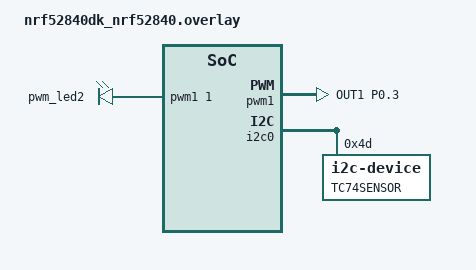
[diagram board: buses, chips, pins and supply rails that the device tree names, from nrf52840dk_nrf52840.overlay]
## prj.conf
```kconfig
#CONFIG_GPIO=y
CONFIG_I2C=y
CONFIG_PWM=y
CONFIG_UART_ASYNC_API=y
#CONFIG_SERIAL=y
#CONFIG_CONSOLE=y
CONFIG_PRINTK=y
CONFIG_TIMING_FUNCTIONS=y
#CONFIG_UART_CONSOLE=y
```

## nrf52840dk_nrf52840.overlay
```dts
// To get started, press Ctrl+Space to bring up the completion menu and view the available nodes.

// You can also use the buttons in the sidebar to perform actions on nodes.
// Actions currently available include:

// * Enabling / disabling the node
// * Adding the bus to a bus
// * Removing the node
// * Connecting ADC channels

// For more help, browse the DeviceTree documentation at https://docs.zephyrproject.org/latest/guides/dts/index.html
// You can also visit the nRF DeviceTree extension documentation at https://docs.nordicsemi.com/bundle/nrf-connect-vscode/page/guides/ncs_configure_app.html#devicetree-support-in-the-extension

/ {

	
	/*extleds {
		compatible = "gpio-leds";
		extled4: extled_4 {
			gpios = <&gpio0 3 GPIO_ACTIVE_LOW>;
			label = "External LED 4";
		};
	};	*/
	
	pwmleds {
		compatible = "pwm-leds";
		pwm_led2: pwm_led_2 {
			// Note that the "1" refers to the PWM channel (0...3)
			pwms = <&pwm1 1 PWM_MSEC(20) PWM_POLARITY_NORMAL>;
		};
	};


};

&pwm1 {
	status = "okay";
	pinctrl-0 = <&pwm1_default>;
	pinctrl-1 = <&pwm1_sleep>;
	pinctrl-names = "default", "sleep";	
};

&pinctrl {
	
	pwm1_default: pwm1_default {
		group1 {
			// Note that here PWM channels are labeled PWM_OUTx
			psels = <NRF_PSEL(PWM_OUT1, 0, 3)>;
			nordic,invert;
		};
	};

	pwm1_sleep: pwm1_sleep {
		group1 {
			// Note that here PWM channels are labeled PWM_OUTx
			psels = <NRF_PSEL(PWM_OUT1, 0, 3)>;			
		};
	};
};

&i2c0 {
    tc74sensor: tc74sensor@4D{
        compatible = "i2c-device";
        reg = < 0x4D >;		
        label = "TC74SENSOR";
    };
};
```

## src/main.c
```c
/*
 * Copyright (c) 2016 Open-RnD Sp. z o.o.
 * Copyright (c) 2020 Nordic Semiconductor ASA
 *
 * SPDX-License-Identifier: Apache-2.0
 */

#include <zephyr/kernel.h>
#include <zephyr/device.h>
#include <zephyr/drivers/gpio.h>
#include <zephyr/sys/util.h>
#include <zephyr/sys/printk.h>
#include <inttypes.h>
#include <zephyr/devicetree.h>
#include <zephyr/sys/mutex.h>
#include <stdlib.h>
#include <zephyr/drivers/pwm.h>		
#include <zephyr/drivers/i2c.h>
#include <zephyr/drivers/uart.h>
#include <stdio.h>
#include <string.h>
#include <zephyr/timing/timing.h>   



#define SLEEP_TIME_MS	1
#define STACK_SIZE 1024
#define PRIORITY_THREAD_TEMP 4
#define PRIORITY_THREAD_LED 5
#define PRIORITY_THREAD_PWM 3
#define PRIORITY_THREAD_UART 5

/* Therad periodicity (in ms)*/
#define THREAD_TEMP_PERIOD 500
#define THREAD_PWM_PERIOD 200
#define THREAD_LED_PERIOD 250

#define PWM_NODE    DT_NODELABEL(pwm_led2)	// heaterpwm is the PWM node for the heater
#define PWM_PERIOD_USEC 1000
#define PWM_MIN 0.0f
#define PWM_MAX 100.0f

#define TC74_CMD_RTR 0x00   /* Read temperature command */
#define TC74_CMD_RWCR 0x01  /* Read/write configuration register */

/*
 * Get button configuration from the devicetree sw0 alias. This is mandatory.
 */
#define SW0_NODE	DT_ALIAS(sw0)	// sw0 is the button 1
#define SW1_NODE	DT_ALIAS(sw1)	// sw1 is the button 2
#define SW3_NODE	DT_ALIAS(sw3)	// sw3 is the button 4

#define LED0_NODE	DT_ALIAS(led0)	// led0 is the LED 1
#define LED1_NODE	DT_ALIAS(led1)	// led1 is the LED 2
#define LED2_NODE	DT_ALIAS(led2)	// led2 is the LED 3
#define LED3_NODE	DT_ALIAS(led3)	// led3 is the LED 4

/* I2C device vars and defines */
#define I2C0_NID DT_NODELABEL(tc74sensor)

/* UART defs*/
#define UART_NODE DT_NODELABEL(uart0)
#define RX_BUF_SIZE 64
#define FRAME_BUF_SIZE 128
#define TX_BUF_SIZE 128
#define RX_TIMEOUT_US 100000


/* Error codes */
#define ERR_OK  0       // All fine
#define ERR_RDY -1      // Device not ready error
#define ERR_CONF -2     // Configuration error 
#define ERR_ISR -3     // Interrupt error




typedef struct {
    int cur_temp;      // Temperatura lida do sensor
    int setpoint;      // Temperatura desejada
    int max_temp;      // Temperatura máxima de segurança
    bool system_on;    // ON/OFF do sistema
	float kp, ki, kd;	// Parametros PID
	

} rtdb_t;

K_MUTEX_DEFINE(rtdb_mutex);

static rtdb_t RTDB = {
	.cur_temp = 0,
	.setpoint = 30,
	.max_temp = 50,
	.system_on = false, 
	.kp = 5.0f,
	.ki = 0.5f,
	.kd = 0.0f,

	
};

/* UART Vars*/
const struct device *uart_dev = DEVICE_DT_GET(UART_NODE);
static uint8_t rx_buf[RX_BUF_SIZE];
static char frame_buf[FRAME_BUF_SIZE];
static volatile int frame_pos = 0;
static volatile bool frame_ready = false;
static bool awaiting_enter = false;
char controller_params[64] = "Kp=10,Ki=5,Kd=1";



static const struct gpio_dt_spec button1 = GPIO_DT_SPEC_GET_OR(SW0_NODE, gpios, {0});
static struct gpio_callback button1_cb_data;

static const struct gpio_dt_spec button2 = GPIO_DT_SPEC_GET_OR(SW1_NODE, gpios, {0});
static struct gpio_callback button2_cb_data;

static const struct gpio_dt_spec button4 = GPIO_DT_SPEC_GET_OR(SW3_NODE, gpios, {0});
static struct gpio_callback button4_cb_data;


static struct gpio_dt_spec led1 = GPIO_DT_SPEC_GET_OR(LED0_NODE, gpios, {0});
static struct gpio_dt_spec led2 = GPIO_DT_SPEC_GET_OR(LED1_NODE, gpios, {0});
static struct gpio_dt_spec led3 = GPIO_DT_SPEC_GET_OR(LED2_NODE, gpios, {0});
static struct gpio_dt_spec led4 = GPIO_DT_SPEC_GET_OR(LED3_NODE, gpios, {0});

static const struct pwm_dt_spec heater_pwm = PWM_DT_SPEC_GET(PWM_NODE);	

static const struct i2c_dt_spec dev_i2c = I2C_DT_SPEC_GET(I2C0_NID);
							 
/* hardware configurations */
int HWInit(void);

void update_leds(void);

void button_pressed(const struct device *dev, struct gpio_callback *cb, uint32_t pins);

float pid_compute(float kp,float ki,float kd,float *prev,float *intg, float setpoint, float temp, float dt);

uint8_t calc_checksum(const char *cmd, const char *data);

void send_uart_msg(const char *msg);

void process_frame(const char *frame);

static void uart_cb(const struct device *dev, struct uart_event *evt, void *user_data);

void print_float_as_string(char *buffer, size_t size, float val);



/* Thread IDs */
k_tid_t temp_sensor_tid;
k_tid_t led_control_tid;
k_tid_t pwm_tid;

K_THREAD_STACK_DEFINE(temp_sensor_stack, STACK_SIZE);
K_THREAD_STACK_DEFINE(led_control_stack, STACK_SIZE);
K_THREAD_STACK_DEFINE(pwm_stack, STACK_SIZE);
static struct k_thread temp_sensor_data;
static struct k_thread led_control_data;
static struct k_thread pwm_data;

/* UART thread */
k_tid_t uart_tid;
K_THREAD_STACK_DEFINE(uart_stack, STACK_SIZE);
static struct k_thread uart_data;


void temp_sensor_thread(void *p1, void *p2, void *p3);

void led_control_thread(void *p1, void *p2, void *p3);

void pwm_control_thread(void *p1, void *p2, void *p3);

void uart_task(void *arg1, void *arg2, void *arg3);


int main(void)
{
	int ret = 0;

    if ((ret = HWInit())) {
        printk("HW initialization error!\n");
        return ret;
    }

    printk("RTDB initialized\n");
    printk("System running with threads\n");

    temp_sensor_tid = k_thread_create(&temp_sensor_data, temp_sensor_stack, STACK_SIZE,
                    temp_sensor_thread, NULL, NULL, NULL,
                    PRIORITY_THREAD_TEMP, 0, K_NO_WAIT);

    led_control_tid = k_thread_create(&led_control_data, led_control_stack, STACK_SIZE,
                    led_control_thread, NULL, NULL, NULL,
                    PRIORITY_THREAD_LED, 0, K_NO_WAIT);

	pwm_tid = k_thread_create(&pwm_data, pwm_stack, STACK_SIZE,
		pwm_control_thread, NULL, NULL, NULL,
		PRIORITY_THREAD_PWM, 0, K_NO_WAIT);

	uart_tid = k_thread_create(&uart_data, uart_stack, STACK_SIZE,
					uart_task, NULL, NULL, NULL,
					PRIORITY_THREAD_UART, 0, K_NO_WAIT);


    return 0;
}



uint8_t calc_checksum(const char *cmd, const char *data) {
    uint8_t sum = cmd[0];
    for (size_t i = 0; i < strlen(data); i++) {
        sum += (uint8_t)data[i];
    }
    return sum % 256;
}


void send_uart_msg(const char *msg) {
    while (*msg) {
        uart_tx(uart_dev, msg, 1, SYS_FOREVER_MS);
        msg++;
        k_msleep(1);
    }
}

void print_float_as_string(char *buffer, size_t size, float val) {
    int int_part = (int)val;
    int decimal_part = (int)((val - int_part) * 10);  // 1 casa decimal
    if (decimal_part < 0) decimal_part = -decimal_part;

    snprintf(buffer, size, "%d.%d", int_part, decimal_part);
}


void process_frame(const char *frame) {
    size_t len = strlen(frame);
    if (len < 5 || frame[0] != '#' || frame[len - 1] != '!') {
        send_uart_msg("\r\n#Ef171!\r\n");
        return;
    }

    char cmd = frame[1];
    char data[64] = {0};
    char cs_str[4] = {0};

    if (cmd == 'C') {
        strncpy(cs_str, &frame[2], 3);
    } else {
        int full_len = strlen(frame);
        int data_len = full_len - 6; // remove # + CMD + CS(3) + !
        if (data_len > 0 && data_len < (int)sizeof(data)) {
            strncpy(data, &frame[2], data_len);
            data[data_len] = '\0';
        }
        strncpy(cs_str, &frame[full_len - 4], 3);
    }

    int received_cs = atoi(cs_str);
    char cmd_str[2] = {cmd, '\0'};
    uint8_t computed_cs = calc_checksum(cmd_str, data);

    char response[TX_BUF_SIZE];

    if (computed_cs != received_cs) {
        snprintf(response, sizeof(response), "\r\n#Es%03d!\r\n", calc_checksum("E", "s"));
        send_uart_msg(response);
        return;
    }

    switch (cmd) {
        case 'M': {
            int max_tmp = atoi(data);
			k_mutex_lock(&rtdb_mutex, K_FOREVER);
            RTDB.max_temp = max_tmp;
            k_mutex_unlock(&rtdb_mutex);
            snprintf(response, sizeof(response), "\r\n#Eo%03d!\r\n", calc_checksum("E", "o"));
            send_uart_msg(response);
            snprintf(response, sizeof(response), "Max temp = %d\r\n", max_tmp);
            send_uart_msg(response);
            break;
        }
        case 'C': {
            char t_str[8] = {0};
			int current_temp;
			k_mutex_lock(&rtdb_mutex, K_FOREVER);
            current_temp = RTDB.cur_temp;
            k_mutex_unlock(&rtdb_mutex);
            snprintf(t_str, sizeof(t_str), "%03d", current_temp);
            snprintf(response, sizeof(response), "\r\n#c%s%03d!\r\n", t_str, calc_checksum("c", t_str));
            send_uart_msg(response);
            break;
        }
        case 'S': {	


            // Espera-se exatamente 15 chars de dados: pXX.XiXX.XdXX.X
			if (strlen(data) != 12) {
				snprintf(response, sizeof(response), "\r\n#Ei%03d!\r\n", calc_checksum("E", "i"));
				send_uart_msg(response);
				break;
			}

			// Validar as posições fixas dos identificadores p, i, d
			if (data[0] != 'p' || data[4] != 'i' || data[8] != 'd') {
				snprintf(response, sizeof(response), "\r\n#Ei%03d!\r\n", calc_checksum("E", "i"));
				send_uart_msg(response);
				break;
			}

			

			// Extrair os valores float (4 chars cada)
			char p_str[5] = { data[1], data[2], data[3], '\0' };   
			char i_str[5] = { data[5], data[6], data[7], '\0' };   
			char d_str[5] = { data[9], data[10], data[11], '\0' };

			int p_int = atoi(p_str);
			int i_int = atoi(i_str);
			int d_int = atoi(d_str); 

			if (p_int < 0 || i_int < 0 || d_int < 0 || p_int > 999 || i_int > 999 || d_int > 999) {
				snprintf(response, sizeof(response), "\r\n#Ei%03d!\r\n", calc_checksum("E", "i"));
				send_uart_msg(response);
				break;
			}

			// Converte para float dividindo por 10 (último dígito decimal)
			float p = p_int / 10.0f;
			float i = i_int / 10.0f;
			float d = d_int / 10.0f;

			k_mutex_lock(&rtdb_mutex, K_FOREVER);
			RTDB.kp = p;
			RTDB.ki = i;
			RTDB.kd = d;
			k_mutex_unlock(&rtdb_mutex);


			snprintf(response, sizeof(response), "\r\n#Eo%03d!\r\n", calc_checksum("E", "o"));
			send_uart_msg(response);

			break;
            
        }
		case 'G': {  // Get PID parameters
			// Retorna os parâmetros no formato #gpPPP iIII dDDD xxx!
			float p, i, d;
			k_mutex_lock(&rtdb_mutex, K_FOREVER);
			p = RTDB.kp;
			i = RTDB.ki;
			d = RTDB.kd;
			k_mutex_unlock(&rtdb_mutex);
		
			int p_int = (int)(p * 10);
			int i_int = (int)(i * 10);
			int d_int = (int)(d * 10);
		
			char pid_str[20];
			snprintf(pid_str, sizeof(pid_str), "p%03di%03dd%03d", p_int, i_int, d_int);
		
			snprintf(response, sizeof(response), "\r\n#g%s%03d!\r\n", pid_str, calc_checksum("g", pid_str));
			send_uart_msg(response);
			break;
		}
		
        default: {
            snprintf(response, sizeof(response), "\r\n#Ei%03d!\r\n", calc_checksum("E", "i"));
            send_uart_msg(response);
            break;
        }
    }
}

static void uart_cb(const struct device *dev, struct uart_event *evt, void *user_data) {
    switch (evt->type) {
        case UART_RX_RDY:
            for (size_t i = 0; i < evt->data.rx.len; i++) {
                char c = evt->data.rx.buf[evt->data.rx.offset + i];

                if (c == '\r' || c == '\n') {
                    const char *nl = "\r\n";
                    uart_tx(uart_dev, nl, strlen(nl), SYS_FOREVER_MS);
                } else {
                    uart_tx(uart_dev, &c, 1, SYS_FOREVER_MS);
                }

                if (frame_pos == 0 && c != '#') {
                    frame_buf[frame_pos++] = c;
                    awaiting_enter = true;
                    continue;
                }

                if (awaiting_enter) {
                    if (c == '\r' || c == '\n') {
                        frame_buf[frame_pos] = '\0';
                        frame_ready = true;
                        frame_pos = 0;
                        awaiting_enter = false;
                    }
                    continue;
                }

                if (c == '!') {
                    if (frame_pos < FRAME_BUF_SIZE - 1) {
                        frame_buf[frame_pos++] = c;
                        awaiting_enter = true;
                    } else {
                        send_uart_msg("\r\n#Ef171!\r\n");
                        frame_pos = 0;
                        awaiting_enter = false;
                    }
                } else if (frame_pos < FRAME_BUF_SIZE - 1) {
                    frame_buf[frame_pos++] = c;
                } else {
                    send_uart_msg("\r\n#Ef171!\r\n");
                    frame_pos = 0;
                    awaiting_enter = false;
                }
            }
            break;

        case UART_RX_DISABLED:
            uart_rx_enable(uart_dev, rx_buf, sizeof(rx_buf), RX_TIMEOUT_US);
            break;

        default:
            break;
    }
}

void uart_task(void *arg1, void *arg2, void *arg3) {
    uart_callback_set(uart_dev, uart_cb, NULL);
    uart_rx_enable(uart_dev, rx_buf, sizeof(rx_buf), RX_TIMEOUT_US);

    const char *welcome = "Pronto para comandos (#CMD...CS!)\r\n";
    send_uart_msg(welcome);

    while (1) {
        if (frame_ready) {
            process_frame(frame_buf);
            frame_ready = false;
        }
        k_msleep(50);
    }
}


void update_leds(void) {
	k_mutex_lock(&rtdb_mutex, K_FOREVER);
    bool on = RTDB.system_on;
    int temp = RTDB.cur_temp;
    int sp = RTDB.setpoint;
    k_mutex_unlock(&rtdb_mutex);

    gpio_pin_set_dt(&led1, on);
    gpio_pin_set_dt(&led2, on && abs(temp - sp) <= 2);
    gpio_pin_set_dt(&led3, on && temp < sp - 2);
    gpio_pin_set_dt(&led4, on && temp > sp + 2);
}

void button_pressed(const struct device *dev, struct gpio_callback *cb, uint32_t pins) {
    k_mutex_lock(&rtdb_mutex, K_FOREVER);
    if (pins & BIT(button1.pin)) {
        RTDB.system_on = !RTDB.system_on;
        printk("System is now %s\n", RTDB.system_on ? "ON" : "OFF");

    } else if ((pins & BIT(button2.pin)) && RTDB.system_on) {
		if (RTDB.setpoint < RTDB.max_temp) {
			RTDB.setpoint++;
			printk("Setpoint increased: %d°C\n", RTDB.setpoint);
		} else {
			printk("Setpoint already at maximum: %d°C\n", RTDB.max_temp);
		}

    } else if ((pins & BIT(button4.pin)) && RTDB.system_on) {
        RTDB.setpoint--;
        printk("Setpoint decreased: %d°C\n", RTDB.setpoint);

    }
    k_mutex_unlock(&rtdb_mutex);
    update_leds();
}

void temp_sensor_thread(void *p1, void *p2, void *p3) {

	/* Local vars */
    int64_t fin_time=0, release_time=0;     /* Timing variables to control task periodicity */  
	
	release_time = k_uptime_get() + THREAD_TEMP_PERIOD;
        

    uint8_t temp = 0;
	int ret=0;
    while (1) {
		k_mutex_lock(&rtdb_mutex, K_FOREVER);
        bool sys_on = RTDB.system_on;
        k_mutex_unlock(&rtdb_mutex);
		if(sys_on){
			/* Read temperature register */       
			ret = i2c_read_dt(&dev_i2c, &temp, sizeof(temp));
			if(ret != 0){
				printk("Failed to read from I2C device at address %x, register  at Reg. %x \n\r", dev_i2c.addr,TC74_CMD_RTR);      
			}
			else{
				k_mutex_lock(&rtdb_mutex, K_FOREVER);
				RTDB.cur_temp = temp;
				k_mutex_unlock(&rtdb_mutex);
				//printk("[SENSOR] Current temperature: %d°C\n", temp);
				//k_sleep(K_MSEC(500));
			}

			
		}
		
		/* Control the task periodicity */
		fin_time = k_uptime_get();
		if (fin_time < release_time) {
			k_msleep(release_time - fin_time);
			release_time += THREAD_TEMP_PERIOD;
		}
    }
	

}

void led_control_thread(void *p1, void *p2, void *p3) {

	/* Local vars */
    int64_t fin_time=0, release_time=0;     /* Timing variables to control task periodicity */  
	
	release_time = k_uptime_get() + THREAD_LED_PERIOD;

    while (1) {
		k_mutex_lock(&rtdb_mutex, K_FOREVER);
        bool sys_on = RTDB.system_on;
        k_mutex_unlock(&rtdb_mutex);

        if (sys_on) {
            update_leds();
        } else {
            gpio_pin_set_dt(&led1, 0);
            gpio_pin_set_dt(&led2, 0);
            gpio_pin_set_dt(&led3, 0);
            gpio_pin_set_dt(&led4, 0);
        }

        /* Control the task periodicity */
		fin_time = k_uptime_get();
		if (fin_time < release_time) {
			k_msleep(release_time - fin_time);
			release_time += THREAD_LED_PERIOD;
		}
    }
    
}



float pid_compute(float kp,float ki,float kd,float *prev,float *intg, float setpoint, float temp, float dt) {
	
    float error = setpoint - temp;
    //*intg += error * dt;
    float derivative = (error - *prev) / dt;
    
	// Cálculo prévio da saída sem atualizar a integral ainda
    float output_pre = kp * error + ki * (*intg) + kd * derivative;

	// Anti-windup
	if ((output_pre < PWM_MAX && output_pre > PWM_MIN) ||
    	(output_pre >= PWM_MAX && error < 0) ||  
    	(output_pre <= PWM_MIN && error > 0)) {
    	*intg += error * dt;
	}


	float output = kp * error + ki * (*intg) + kd * derivative;

	// Clamp output to PWM range
	if (output < PWM_MIN) {
		output = PWM_MIN;
	} else if (output > PWM_MAX) {
		output = PWM_MAX;
	}

	*prev = error;
    return output;
}


void pwm_control_thread(void *p1, void *p2, void *p3) {

	/* Local vars */
    int64_t fin_time=0, release_time=0;     /* Timing variables to control task periodicity */    
	release_time = k_uptime_get() + THREAD_PWM_PERIOD;

	float prev_error = 0.0f;
	float integral = 0.0f;		

    while (1) {
        k_mutex_lock(&rtdb_mutex, K_FOREVER);
        bool sys_on = RTDB.system_on;
		float sp = (float)RTDB.setpoint;
        float temp = (float)RTDB.cur_temp;
        float kp = RTDB.kp;
        float ki = RTDB.ki;
        float kd = RTDB.kd;
        k_mutex_unlock(&rtdb_mutex);

        if (sys_on) {
            float out = pid_compute(kp, ki, kd, &prev_error, &integral, (float)sp, (float)temp, 0.5f);
            int duty = CLAMP(out, 0, 100);
			//int duty = 50; // For testing, set a fixed duty cycle
            pwm_set_dt(&heater_pwm, PWM_USEC(PWM_PERIOD_USEC), PWM_USEC(PWM_PERIOD_USEC * duty / 100));
            //printk("[PWM] Duty set to: %d%%\n", duty);
        } else {
            pwm_set_dt(&heater_pwm, PWM_USEC(PWM_PERIOD_USEC), PWM_USEC(0));
        }

        /* Control the task periodicity */
		fin_time = k_uptime_get();
		if (fin_time < release_time) {
			k_msleep(release_time - fin_time);
			release_time += THREAD_PWM_PERIOD;
		}

	}


}


int HWInit(void){
	int ret;

	/*button 1 configs*/
	if (!gpio_is_ready_dt(&button1)) {
		printk("Error: button 1 device %s is not ready\n",
		       button1.port->name);
		return ERR_RDY;
	}

	ret = gpio_pin_configure_dt(&button1, GPIO_INPUT);
	if (ret != 0) {
		printk("Error %d: failed to configure button 1\n",
		       ret);
		return ERR_CONF;
	}

	ret = gpio_pin_interrupt_configure_dt(&button1,
					      GPIO_INT_EDGE_TO_ACTIVE);
	if (ret != 0) {
		printk("Error %d: failed to configure interrupt on button 1\n",
			ret);
		return ERR_ISR;
	}

	gpio_init_callback(&button1_cb_data, button_pressed, BIT(button1.pin));
	gpio_add_callback(button1.port, &button1_cb_data);
	printk("Set up button 1 at %s pin %d\n", button1.port->name, button1.pin);
	
	/*button 2 configs*/
	if (!gpio_is_ready_dt(&button2)) {
		printk("Error: button 2 device %s is not ready\n",
		       button2.port->name);
		return ERR_RDY;
	}
	ret = gpio_pin_configure_dt(&button2, GPIO_INPUT);
	if (ret != 0) {
		printk("Error %d: failed to configure button 2\n",
		       ret);
		return ERR_CONF;
	}
	ret = gpio_pin_interrupt_configure_dt(&button2,
					      GPIO_INT_EDGE_TO_ACTIVE);
	if (ret != 0) {
		printk("Error %d: failed to configure interrupt on button 2\n",
			ret);
		return ERR_ISR;
	}
	gpio_init_callback(&button2_cb_data, button_pressed, BIT(button2.pin));
	gpio_add_callback(button2.port, &button2_cb_data);
	printk("Set up button 2 at %s pin %d\n", button2.port->name, button2.pin);
	
	/*button 4 configs*/
	if (!gpio_is_ready_dt(&button4)) {
		printk("Error: button 4 device %s is not ready\n",
		       button4.port->name);
		return ERR_RDY;
	}
	ret = gpio_pin_configure_dt(&button4, GPIO_INPUT);
	if (ret != 0) {
		printk("Error %d: failed to configure button 4\n",
		       ret);
		return ERR_CONF;
	}
	ret = gpio_pin_interrupt_configure_dt(&button4,
					      GPIO_INT_EDGE_TO_ACTIVE);
	if (ret != 0) {
		printk("Error %d: failed to configure interrupt on button 4\n",
			ret);
		return ERR_ISR;
	}
	gpio_init_callback(&button4_cb_data, button_pressed, BIT(button4.pin));
	gpio_add_callback(button4.port, &button4_cb_data);
	printk("Set up button 4 at %s pin %d\n", button4.port->name, button4.pin);


	/*LED 1 configs*/
	if (!gpio_is_ready_dt(&led1)) {
		printk("Error %d: LED 1 device %s is not ready\n",
		       ret, led1.port->name);
		return ERR_RDY;
		
	}
	
	ret = gpio_pin_configure_dt(&led1, GPIO_OUTPUT);
	if (ret != 0) {
		printk("Error %d: failed to configure LED 1 device %s pin %d\n",
				ret, led1.port->name, led1.pin);
		return ERR_CONF;
	} else {
		printk("Set up LED 1 at %s pin %d\n", led1.port->name, led1.pin);
	}

	/*LED 2 configs*/
	if (!gpio_is_ready_dt(&led2)) {
		printk("Error %d: LED 2 device %s is not ready\n",
		       ret, led2.port->name);
		return ERR_RDY;
		
	}
	ret = gpio_pin_configure_dt(&led2, GPIO_OUTPUT);
	if (ret != 0) {
		printk("Error %d: failed to configure LED 2 device %s pin %d\n",
				ret, led2.port->name, led2.pin);
		return ERR_CONF;
	} else {
		printk("Set up LED 2 at %s pin %d\n", led2.port->name, led2.pin);
	}

	/*LED 3 configs*/
	if (!gpio_is_ready_dt(&led3)) {
		printk("Error %d: LED 3 device %s is not ready\n",
		       ret, led3.port->name);
		return ERR_RDY;
		
	}
	ret = gpio_pin_configure_dt(&led3, GPIO_OUTPUT);
	if (ret != 0) {
		printk("Error %d: failed to configure LED 3 device %s pin %d\n",
				ret, led3.port->name, led3.pin);
		return ERR_CONF;
	} else {
		printk("Set up LED 3 at %s pin %d\n", led3.port->name, led3.pin);
	}

	/*LED 4 configs*/
	if (!gpio_is_ready_dt(&led4)) {
		printk("Error %d: LED 4 device %s is not ready\n",
		       ret, led4.port->name);
		return ERR_RDY;
		
	}
	ret = gpio_pin_configure_dt(&led4, GPIO_OUTPUT);
	if (ret != 0) {
		printk("Error %d: failed to configure LED 4 device %s pin %d\n",
				ret, led4.port->name, led4.pin);
		return ERR_CONF;
	} else {
		printk("Set up LED 4 at %s pin %d\n", led4.port->name, led4.pin);
	}
	
	/* Set the LEDs to off */
	gpio_pin_set_dt(&led1, 0);
	gpio_pin_set_dt(&led2, 0);
	gpio_pin_set_dt(&led3, 0);
	gpio_pin_set_dt(&led4, 0);


	/* PWM configuration */
	if (!device_is_ready(heater_pwm.dev)) {
		printk("Error: PWM device %s is not ready\n", heater_pwm.dev->name);
		return ERR_RDY;
	}
	
	/* I2C configuration*/
	if (!device_is_ready(dev_i2c.bus)) {
	    printk("I2C bus %s is not ready!\n\r",dev_i2c.bus->name);
	    return ERR_RDY;
    } else {
        printk("I2C bus %s, device address %x ready\n\r",dev_i2c.bus->name, dev_i2c.addr);
    }    
    
    /* Write (command RTR) to set the read address to temperature */
    /* Only necessary if a config done before (not the case), but let's stay in the safe side */
    /*ret = i2c_write_dt(&dev_i2c, TC74_CMD_RTR, 1);
    if(ret != 0){
        printk("Failed to write to I2C device at address %x, register %x \n\r", dev_i2c.addr ,TC74_CMD_RTR);
    }*/

	/* UART configuration*/

	if (!device_is_ready(uart_dev)) {
		printk("Error: UART device %s is not ready\n", uart_dev->name);
		return ERR_RDY;
	}

	return ERR_OK;
}
```
